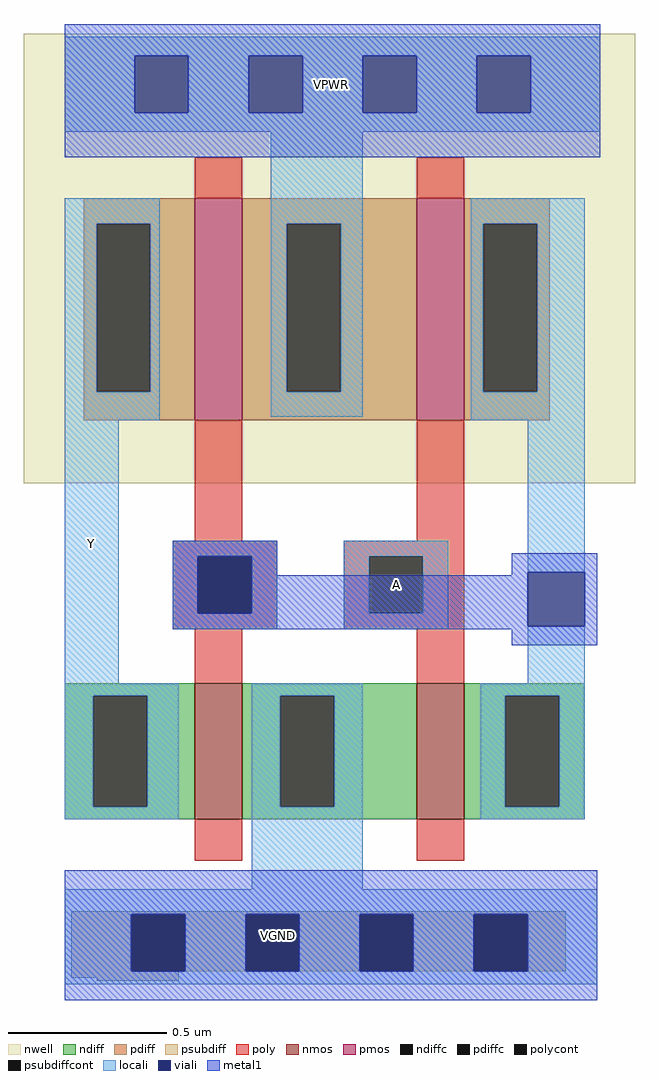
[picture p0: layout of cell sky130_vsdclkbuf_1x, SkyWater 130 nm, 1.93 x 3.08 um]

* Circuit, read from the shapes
.subckt sky130_vsdclkbuf_1x A Y VGND VPWR VPB
XM1 VGND n1 Y VGND sky130_fd_pr__nfet_01v8 w=0.43 l=0.15
XM2 n1 A VGND VGND sky130_fd_pr__nfet_01v8 w=0.43 l=0.15
XM3 VPWR n1 Y VPB sky130_fd_pr__pfet_01v8 w=0.7 l=0.15
XM4 n1 A VPWR VPB sky130_fd_pr__pfet_01v8 w=0.7 l=0.15
.ends

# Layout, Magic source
magic
tech sky130A
<< nwell >>
rect -13 146 180 288
<< nmos >>
rect 41 40 56 83
rect 111 40 126 83
<< pmos >>
rect 41 166 56 236
rect 111 166 126 236
<< ndiff >>
rect 0 79 41 83
rect 0 44 9 79
rect 26 44 41 79
rect 0 40 41 44
rect 56 79 111 83
rect 56 44 68 79
rect 85 44 111 79
rect 56 40 111 44
rect 126 79 164 83
rect 126 44 139 79
rect 156 44 164 79
rect 126 40 164 44
<< pdiff >>
rect 6 228 41 236
rect 6 175 10 228
rect 27 175 41 228
rect 6 166 41 175
rect 56 228 111 236
rect 56 175 70 228
rect 87 175 111 228
rect 56 166 111 175
rect 126 228 153 236
rect 126 175 132 228
rect 149 175 153 228
rect 126 166 153 175
<< ndiffc >>
rect 9 44 26 79
rect 68 44 85 79
rect 139 44 156 79
<< pdiffc >>
rect 10 175 27 228
rect 70 175 87 228
rect 132 175 149 228
<< psubdiff >>
rect 2 10 158 11
rect 2 -8 21 10
rect 38 -8 57 10
rect 74 -8 93 10
rect 110 -8 129 10
rect 146 -8 158 10
rect 2 -10 36 -8
rect 10 -11 36 -10
<< psubdiffcont >>
rect 21 -8 38 10
rect 57 -8 74 10
rect 93 -8 110 10
rect 129 -8 146 10
<< poly >>
rect 41 236 56 249
rect 111 236 126 249
rect 41 128 56 166
rect 111 128 126 166
rect 34 123 67 128
rect 34 105 42 123
rect 59 105 67 123
rect 34 100 67 105
rect 88 123 126 128
rect 88 105 96 123
rect 113 105 126 123
rect 88 100 126 105
rect 41 83 56 100
rect 111 83 126 100
rect 41 27 56 40
rect 111 27 126 40
<< polycont >>
rect 42 105 59 123
rect 96 105 113 123
<< locali >>
rect 0 281 169 287
rect 0 263 22 281
rect 39 263 58 281
rect 75 263 94 281
rect 111 263 130 281
rect 147 263 169 281
rect 0 257 169 263
rect 0 228 30 236
rect 0 175 10 228
rect 27 175 30 228
rect 0 166 30 175
rect 65 228 94 257
rect 65 175 70 228
rect 87 175 94 228
rect 65 167 94 175
rect 128 228 164 236
rect 128 175 132 228
rect 149 175 164 228
rect 128 166 164 175
rect 0 83 17 166
rect 34 123 67 128
rect 34 105 42 123
rect 59 105 67 123
rect 34 100 67 105
rect 88 123 121 128
rect 88 105 96 123
rect 113 105 121 123
rect 88 100 121 105
rect 146 118 164 166
rect 146 83 164 101
rect 0 79 36 83
rect 0 44 9 79
rect 26 44 36 79
rect 0 40 36 44
rect 59 79 94 83
rect 59 44 68 79
rect 85 44 94 79
rect 59 18 94 44
rect 131 79 164 83
rect 131 44 139 79
rect 156 44 164 79
rect 131 40 164 44
rect 0 10 168 18
rect 0 -8 21 10
rect 38 -8 57 10
rect 74 -8 93 10
rect 110 -8 129 10
rect 146 -8 168 10
rect 0 -12 168 -8
<< viali >>
rect 22 263 39 281
rect 58 263 75 281
rect 94 263 111 281
rect 130 263 147 281
rect 42 105 59 123
rect 146 101 164 118
rect 21 -8 38 10
rect 57 -8 74 10
rect 93 -8 110 10
rect 129 -8 146 10
<< metal1 >>
rect 0 281 169 291
rect 0 263 22 281
rect 39 263 58 281
rect 75 263 94 281
rect 111 263 130 281
rect 147 263 169 281
rect 0 249 169 263
rect 34 123 67 128
rect 34 105 42 123
rect 59 117 67 123
rect 141 118 168 124
rect 141 117 146 118
rect 59 105 146 117
rect 34 101 146 105
rect 164 101 168 118
rect 34 100 168 101
rect 141 95 168 100
rect 0 10 168 24
rect 0 -8 21 10
rect 38 -8 57 10
rect 74 -8 93 10
rect 110 -8 129 10
rect 146 -8 168 10
rect 0 -17 168 -8
<< labels >>
flabel metal1 31 -17 104 24 0 FreeSans 120 0 0 0 VGND
port 3 nsew ground bidirectional
flabel metal1 19 260 149 284 0 FreeSans 120 0 0 0 VPWR
port 4 nsew power bidirectional
flabel nwell 19 260 149 284 0 FreeSans 120 0 0 0 VPB
port 5 nsew power bidirectional
flabel locali 0 79 17 175 0 FreeSans 120 0 0 0 Y
port 2 nsew signal output
flabel locali 88 100 121 128 0 FreeSans 120 0 0 0 A
port 1 nsew signal input
<< properties >>
string LEFsite unithd
string LEFclass CORE
string FIXED_BBOX 0 0 169 272
string LEFsymmetry X Y R90
<< end >>
